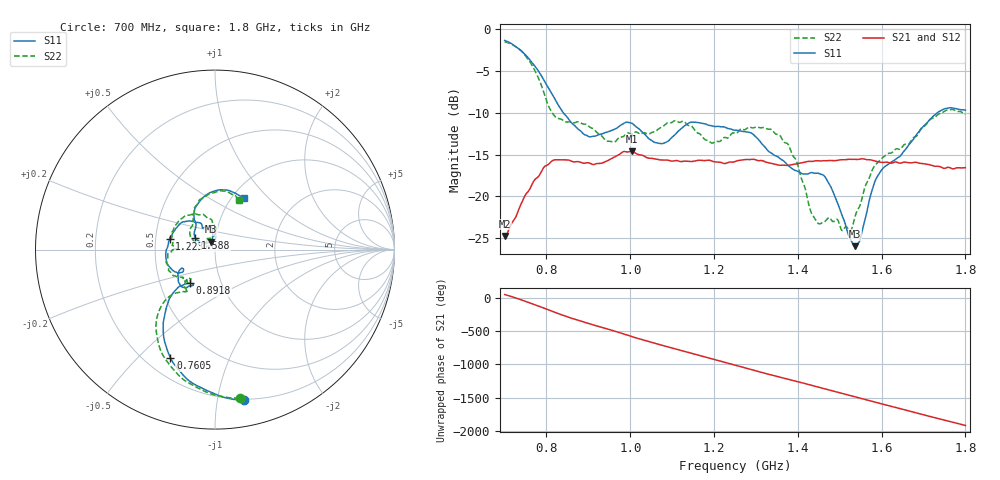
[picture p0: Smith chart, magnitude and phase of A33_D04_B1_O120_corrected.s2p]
! Created with skrf 1.9.0 (http://scikit-rf.org).
# Hz S RI R 50.0
!freq ReS11 ImS11 ReS21 ImS21 ReS12 ImS12 ReS22 ImS22
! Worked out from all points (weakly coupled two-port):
!   1601 points, 700 MHz to 1.8 GHz, reference 50 ohm
!   highest |S21| = -14.60 dB at 1.003 GHz (marker M1); lowest = -24.7 dB at 700.7 MHz (marker M2)
!   lowest |S11| = -25.9 dB at 1.536 GHz (marker M3), VSWR 1.11, Z = 47.5 + j4.22 ohm
!   |S11| at or under -10 dB: 840 MHz to 1.733 GHz (892.9 MHz wide, 69.4 % of centre)
!   |S22| runs from -24.1 to -1.5 dB; largest |S21 - S12| = 0.0033
!   S11 on the Smith chart (normalised r, x): 700 MHz: 0.19, -1.19; 760.5 MHz: 0.30, -0.63; 891.8 MHz: 0.71, -0.28; 1.223 GHz: 0.59, +0.08; 1.588 GHz: 0.79, +0.11; 1.8 GHz: 1.13, +0.73
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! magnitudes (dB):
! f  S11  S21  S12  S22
! 700 MHz  -1.4  -24.7  -24.5  -1.5
! 700.7 MHz  -1.4  -24.7  -24.4  -1.5
! 760.5 MHz  -3.7  -19.1  -19.0  -3.9
! 818.2 MHz  -8.2  -15.6  -15.7  -10.3
! 883.6 MHz  -12.3  -16.0  -15.9  -11.3
! 891.8 MHz  -12.6  -16.0  -16.0  -11.4
! 946.8 MHz  -12.3  -15.7  -15.7  -13.4
! 1.003 GHz  -11.2  -14.6  -14.7  -12.6
! 1.067 GHz  -13.6  -15.6  -15.6  -11.9
! 1.144 GHz  -11.1  -15.8  -15.8  -11.6
! 1.223 GHz  -11.7  -16.0  -16.1  -13.0
! 1.25 GHz  -12.1  -15.8  -15.8  -12.5
! 1.357 GHz  -15.5  -16.3  -16.2  -12.7
! 1.396 GHz  -16.9  -16.1  -16.1  -15.7
! 1.434 GHz  -17.1  -15.8  -15.8  -22.1
! 1.471 GHz  -18.1  -15.7  -15.7  -22.6
! 1.524 GHz  -24.9  -15.6  -15.5  -24.1
! 1.536 GHz  -25.9  -15.6  -15.6  -22.5
! 1.588 GHz  -17.8  -15.8  -15.8  -16.1
! 1.617 GHz  -16.1  -16.0  -15.9  -14.8
! 1.733 GHz  -10.0  -16.4  -16.4  -10.2
! 1.8 GHz  -9.7  -16.6  -16.5  -10.2
